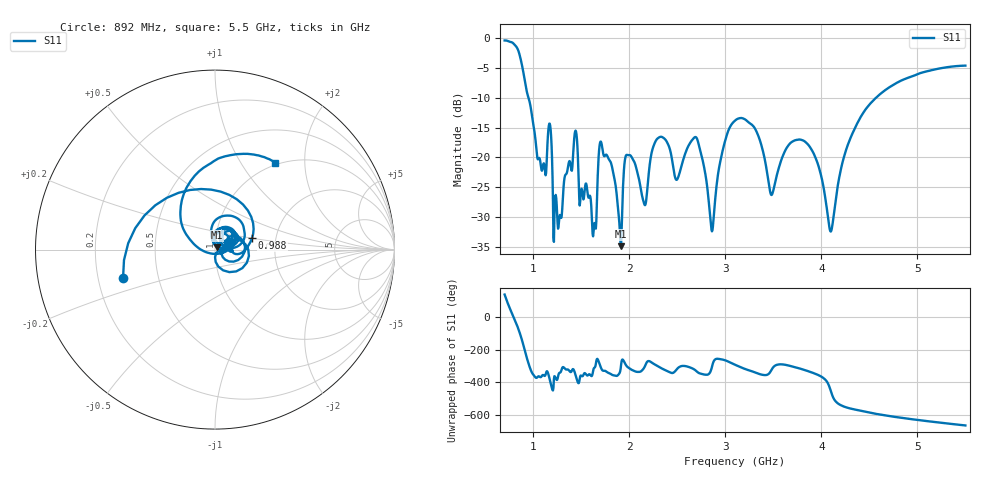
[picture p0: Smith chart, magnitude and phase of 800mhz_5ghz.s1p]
! TOUCHSTONE file generated by CST MICROWAVE STUDIO
! Date and time: Mon Oct 26 12:58:07 2026
! Project name: 800mhz_5ghz.cst
! Parameters = {H_sub=1.6; L_1=115.11; L_10=36.43; L_11=32.06; L_12=28.21; L_13=24.83; L_14=21.85; L_15=19.23; L_16=16.92; L_2=101.3; L_3=89.14; L_4=78.44; L_5=69.03; L_6=60.75; L_7=53.46; L_8=47.04; L_9=41.4; R_1=34.53; R_10=10.93; R_11=9.62; R_12=8.46; R_13=7.45; R_14=6.55; R_15=5.77; R_2=30.39; R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
! Header version: 2018
! Port assignment regex: !\s*Touchstone port\s*([0-9]+)\s*=\s*(CST MWS port|CST DS port)\s*([0-9]+|Zmin|Zmax)\s*\(\"(.*)\"\)(\s*mode\s*([0-9]+))?.*
! Touchstone port assignment:
! Touchstone port 1 = CST MWS port 1 ("")
# GHz S DB R 50
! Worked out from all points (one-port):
!   1001 points, 700 MHz to 5.5 GHz, reference 50 ohm
!   lowest |S11| = -34.9 dB at 1.91 GHz (marker M1), VSWR 1.04, Z = 51.2 + j1.38 ohm
!   |S11| at or under -10 dB: 949 MHz to 4.568 GHz (3.619 GHz wide, 131 % of centre)
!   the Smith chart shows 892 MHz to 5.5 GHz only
!   S11 on the Smith chart (normalised r, x): 892 MHz: 0.31, -0.14; 988 MHz: 1.50, +0.20; 5.5 GHz: 0.97, +1.44
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0.7  -0.35 140.3
0.7432  -0.52 71.3
0.7912  -0.85 4.6
0.844  -2.12 -72.3
0.892  -5.41 -162.9
0.9304  -8.87 112.6
0.988  -13.33 17.0
1.1704  -14.34 -22.3
1.3  -28.75 49.3
1.4392  -15.49 5.1
1.6312  -31.53 48.3
1.708  -17.56 44.4
1.9  -32.21 20.9
1.9096  -34.91 48.5
1.9816  -19.60 54.2
2.1544  -27.82 51.1
2.3032  -16.70 56.8
2.5  -23.64 45.2
2.6968  -16.65 29.8
2.86  -32.42 55.7
3.1  -13.82 68.6
3.4792  -26.32 36.3
3.7  -17.32 57.4
3.9304  -19.73 14.4
4.0984  -32.46 -93.1
4.3  -16.87 159.6
4.9  -6.64 96.5
5.5  -4.58 55.2
